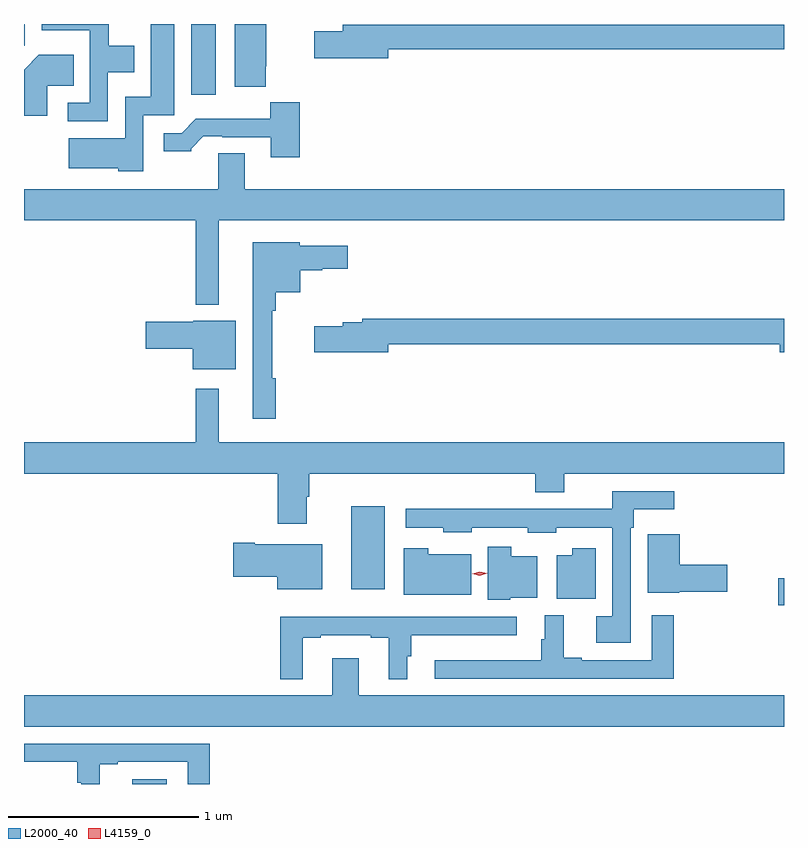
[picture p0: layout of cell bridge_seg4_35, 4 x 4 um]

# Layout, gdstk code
import gdstk
lib = gdstk.Library(unit=1e-6, precision=1e-09)
def R(c, l, rs):  # rectangles x0, y0, x1, y1
    for r in rs: c.add(gdstk.rectangle(r[:2], r[2:], *l))
def P(c, l, *ps):  # polygons
    for p in ps: c.add(gdstk.Polygon(p, *l))
L2000_40 = (2000, 40)
L4159_0 = (4159, 0)

bridge_seg4_35 = lib.new_cell('bridge_seg4_35')
R(bridge_seg4_35, L2000_40, [(686.967,759.222,687.147,759.247), (690.366,760.162,690.396,760.304), (688.118,760.247,688.294,760.684), (687.275,762.849,687.406,763.222), (686.396,763.108,686.401,763.222)])
P(bridge_seg4_35, L2000_40, [(687.668,763),(687.67,763),(687.67,763.222),(687.506,763.222),(687.506,762.893),(687.668,762.893)],
  [(686.838,762.968),(686.977,762.968),(686.977,763.108),(686.841,763.108),(686.841,763.222),(686.489,763.222),(686.489,763.19),(686.742,763.19),(686.742,762.807),(686.625,762.807),(686.625,762.711),(686.838,762.711)],
  [(687.024,762.741),(687.187,762.741),(687.187,763.222),(687.062,763.222),(687.062,762.838),(686.928,762.838),(686.928,762.622),(686.631,762.622),(686.631,762.464),(686.892,762.464),(686.892,762.446),(687.024,762.446)],
  [(688.312,763.09),(690.396,763.09),(690.396,763.219),(688.073,763.219),(688.073,763.185),(687.924,763.185),(687.924,763.043),(688.312,763.043)],
  [(686.518,762.896),(686.657,762.896),(686.657,763.06),(686.474,763.06),(686.396,762.982),(686.396,762.738),(686.518,762.738)],
  [(687.848,762.811),(687.693,762.811),(687.693,762.724),(687.301,762.724),(687.225,762.648),(687.132,762.648),(687.132,762.551),(687.276,762.551),(687.276,762.566),(687.34,762.63),(687.439,762.63),(687.439,762.627),(687.695,762.627),(687.695,762.522),(687.848,762.522)],
  [(686.396,762.188),(687.3,762.188),(687.3,761.744),(687.421,761.744),(687.421,762.188),(690.396,762.188),(690.396,762.352),(687.559,762.352),(687.559,762.542),(687.419,762.542),(687.419,762.352),(686.396,762.352)],
  [(687.721,761.357),(687.703,761.357),(687.703,761.714),(687.721,761.714),(687.721,761.81),(687.85,761.81),(687.85,761.926),(687.966,761.926),(687.966,761.933),(688.099,761.933),(688.099,762.055),(687.846,762.055),(687.846,762.073),(687.599,762.073),(687.599,761.145),(687.721,761.145)],
  [(688.312,761.536),(690.374,761.536),(690.374,761.494),(690.396,761.494),(690.396,761.672),(688.177,761.672),(688.177,761.653),(688.073,761.653),(688.073,761.631),(687.924,761.631),(687.924,761.494),(688.312,761.494)],
  [(687.511,761.659),(687.288,761.659),(687.288,761.654),(687.036,761.654),(687.036,761.512),(687.284,761.512),(687.284,761.405),(687.511,761.405)],
  [(687.883,760.733),(687.896,760.733),(687.896,760.856),(689.087,760.856),(689.087,760.757),(689.239,760.757),(689.239,760.856),(690.396,760.856),(690.396,761.02),(687.421,761.02),(687.421,761.302),(687.3,761.302),(687.3,761.02),(686.396,761.02),(686.396,760.856),(687.731,760.856),(687.731,760.593),(687.883,760.593)],
  [(689.589,760.571),(689.606,760.571),(689.606,760.667),(689.818,760.667),(689.818,760.764),(689.491,760.764),(689.491,760.67),(688.404,760.67),(688.404,760.572),(688.602,760.572),(688.602,760.547),(688.752,760.547),(688.752,760.572),(689.046,760.572),(689.046,760.544),(689.196,760.544),(689.196,760.572),(689.493,760.572),(689.493,760.105),(689.409,760.105),(689.409,759.965),(689.589,759.965)],
  [(689.844,760.235),(690.097,760.235),(690.097,760.377),(689.848,760.377),(689.848,760.536),(689.679,760.536),(689.679,760.433),(689.678,760.433),(689.678,760.229),(689.844,760.229)],
  [(687.967,760.483),(687.61,760.483),(687.61,760.491),(687.498,760.491),(687.498,760.313),(687.728,760.313),(687.728,760.247),(687.967,760.247)],
  [(688.956,760.202),(689.098,760.202),(689.098,760.42),(688.96,760.42),(688.96,760.471),(688.838,760.471),(688.838,760.193),(688.956,760.193)],
  [(689.404,760.462),(689.282,760.462),(689.282,760.426),(689.201,760.426),(689.201,760.196),(689.404,760.196)],
  [(688.75,760.432),(688.524,760.432),(688.524,760.462),(688.394,760.462),(688.394,760.217),(688.75,760.217)],
  [(689.816,760.111),(689.7,760.111),(689.7,759.873),(689.332,759.873),(689.332,759.886),(689.236,759.886),(689.236,760.111),(689.138,760.111),(689.138,759.984),(689.119,759.984),(689.119,759.874),(688.557,759.874),(688.557,759.777),(689.816,759.777)],
  [(687.862,759.993),(687.958,759.993),(687.958,760.005),(688.22,760.005),(688.22,759.993),(688.316,759.993),(688.316,759.773),(688.414,759.773),(688.414,759.894),(688.433,759.894),(688.433,760.004),(688.99,760.004),(688.99,760.101),(688.29,760.101),(688.29,760.102),(687.745,760.102),(687.745,759.773),(687.862,759.773)],
  [(690.396,759.688),(688.159,759.688),(688.159,759.883),(688.019,759.883),(688.019,759.688),(686.396,759.688),(686.396,759.524),(690.396,759.524)],
  [(686.794,759.327),(686.89,759.327),(686.89,759.339),(687.258,759.339),(687.258,759.222),(687.374,759.222),(687.374,759.435),(686.396,759.435),(686.396,759.338),(686.677,759.338),(686.677,759.228),(686.696,759.228),(686.696,759.222),(686.794,759.222)])
P(bridge_seg4_35, L4159_0, [(688.794,760.319),(688.754,760.328),(688.754,760.328),(688.754,760.328),(688.794,760.339),(688.834,760.331),(688.834,760.33),(688.834,760.33)])

lib.write_gds('bridge_seg4_35.gds')
